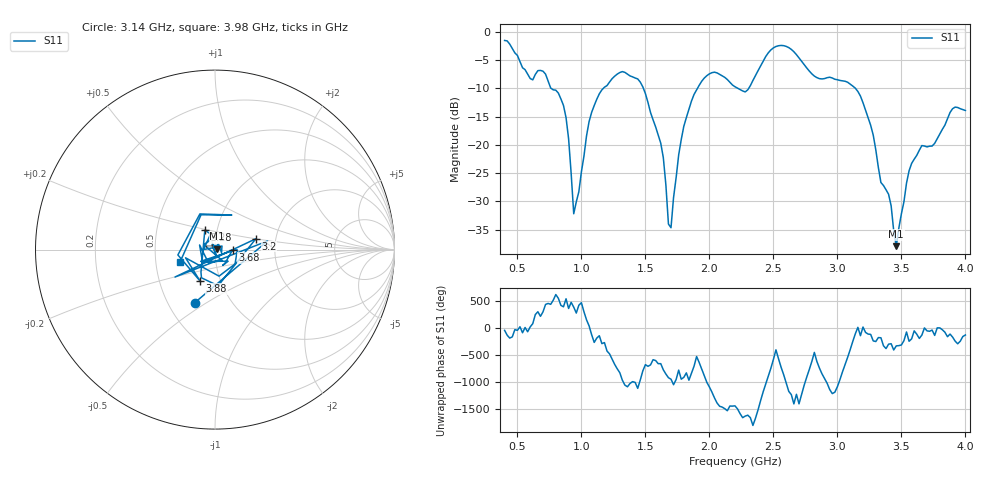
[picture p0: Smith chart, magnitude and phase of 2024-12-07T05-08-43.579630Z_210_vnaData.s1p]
!Created with skrf (http://scikit-rf.org).
# Hz S RI R 50.0
!freq ReS11 ImS11
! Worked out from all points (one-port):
!   181 points, 400 MHz to 4 GHz, reference 50 ohm
!   lowest |S11| = -37.9 dB at 3.46 GHz (marker M1), VSWR 1.03, Z = 51.2 + j0.553 ohm
!   |S11| at or under -10 dB: 763.5 MHz to 1.171 GHz (407.9 MHz wide, 42.2 % of centre); 1.484 GHz to 1.907 GHz (422.6 MHz wide, 24.9 % of centre); 3.141 GHz to end of sweep (the widest 3 of 4)
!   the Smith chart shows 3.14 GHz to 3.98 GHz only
!   S11 on the Smith chart (normalised r, x): 3.14 GHz: 0.68, -0.45; 3.2 GHz: 1.57, +0.20; 3.28 GHz: 0.87, +0.19; 3.68 GHz: 1.22, -0.01; 3.88 GHz: 0.80, -0.29; 3.98 GHz: 0.67, -0.09
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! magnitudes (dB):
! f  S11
! 400 MHz  -1.5
! 860 MHz  -13.0
! 900 MHz  -18.9
! 940 MHz  -32.2
! 1.08 GHz  -14.2
! 1.3 GHz  -7.2
! 1.5 GHz  -10.9
! 1.62 GHz  -19.7
! 1.68 GHz  -34.0
! 1.7 GHz  -34.7
! 1.76 GHz  -21.8
! 1.96 GHz  -8.2
! 2.2 GHz  -9.7
! 2.3 GHz  -10.3
! 2.5 GHz  -2.8
! 2.66 GHz  -3.5
! 3.1 GHz  -9.3
! 3.14 GHz  -10.0
! 3.2 GHz  -12.5
! 3.28 GHz  -18.3
! 3.34 GHz  -26.7
! 3.42 GHz  -30.8
! 3.46 GHz  -37.9
! 3.56 GHz  -24.6
! 3.68 GHz  -20.2
! 3.88 GHz  -14.3
! 3.98 GHz  -13.7
! 4 GHz  -13.9
